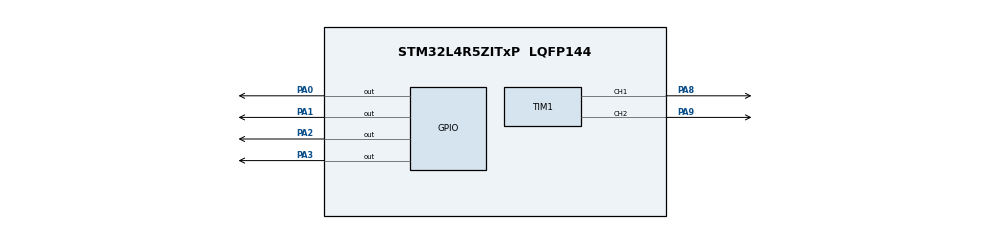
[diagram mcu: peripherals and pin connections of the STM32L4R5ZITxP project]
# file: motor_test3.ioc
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Mcu.Family=STM32L4
Mcu.Name=STM32L4R5ZITxP
Mcu.Package=LQFP144
NVIC.PriorityGroup=NVIC_PRIORITYGROUP_4
PA0.Signal=GPIO_Output
PA1.Signal=GPIO_Output
PA10.Signal=USB_OTG_FS_ID
PA13\ (JTMS/SWDIO).Signal=SYS_JTMS-SWDIO
PA14\ (JTCK/SWCLK).Signal=SYS_JTCK-SWCLK
PA2.Signal=GPIO_Output
PA3.Signal=GPIO_Output
PA4.Signal=SPI1_NSS
PA5.Signal=SPI1_SCK
PA6.Signal=SPI1_MISO
PA7.Signal=SPI1_MOSI
PA8.Signal=S_TIM1_CH1
PA9.Signal=S_TIM1_CH2
PB0.Signal=S_TIM3_CH3
PB1.Signal=ADCx_IN16
PB10.Signal=S_TIM2_CH3
PB12.Signal=SAI2_FS_A
PB13.Signal=SAI2_SCK_A
PB14.Signal=S_TIM15_CH1
PB15.Signal=SAI2_SD_A
PB2.Signal=COMP1_INP
PB3\ (JTDO/TRACESWO).Signal=SPI3_SCK
PB4\ (NJTRST).Signal=SPI3_MISO
PB5.Signal=SPI3_MOSI
PB6.Signal=COMP2_INP
PB8.Signal=I2C1_SCL
PB9.Signal=I2C1_SDA
PC0.Signal=ADCx_IN1
PC1.Signal=ADCx_IN2
PC10.Signal=SDMMC1_D2
PC11.Signal=SDMMC1_D3
PC12.Signal=SDMMC1_CK
PC13.Signal=SYS_WKUP2
PC14-OSC32_IN\ (PC14).Signal=RCC_OSC32_IN
PC15-OSC32_OUT\ (PC15).Signal=RCC_OSC32_OUT
PC2.Signal=ADCx_IN3
PC3.Signal=ADCx_IN4
PC4.Signal=ADCx_IN13
PC5.Signal=ADCx_IN14
PC6.Signal=SAI2_MCLK_A
PC7.Signal=S_TIM3_CH2
PC8.Signal=SDMMC1_D0
PC9.Signal=SDMMC1_D1
PD0.Signal=CAN1_RX
PD14.Signal=S_TIM4_CH3
PD15.Signal=S_TIM4_CH4
PD2.Signal=SDMMC1_CMD
PD3.Signal=USART2_CTS
PD4.Signal=USART2_RTS
PD5.Signal=USART2_TX
PD6.Signal=USART2_RX
PD8.Signal=USART3_TX
PD9.Signal=USART3_RX
PE0.Signal=S_TIM4_ETR
PE10.Signal=TIM1_CH2N
PE12.Signal=TIM1_CH3N
PE13.Signal=S_TIM1_CH3
PE14.Signal=TIM1_BKIN2
PE15.Signal=TIM1_BKIN
PE2.Signal=SAI1_MCLK_A
PE3.Signal=SAI1_SD_B
PE7.Signal=S_TIM1_ETR
PE8.Signal=TIM1_CH1N
PF0.Signal=I2C2_SDA
PF1.Signal=I2C2_SCL
PF2.Signal=I2C2_SMBA
PF7.Signal=SAI1_MCLK_B
PG7.Signal=LPUART1_TX
PG8.Signal=LPUART1_RX
PH0-OSC_IN\ (PH0).Signal=RCC_OSC_IN
PH1-OSC_OUT\ (PH1).Signal=RCC_OSC_OUT
ProjectManager.HeapSize=0x200
ProjectManager.StackSize=0x400
ProjectManager.TargetToolchain=STM32CubeIDE
RCC.HSE_VALUE=8000000
RCC.HSI48_VALUE=48000000
RCC.HSI_VALUE=16000000
RCC.LSE_VALUE=32768
RCC.MSI_VALUE=4000000
RCC.VCOOutputFreq_Value=32000000
SH.ADCx_IN1.0=ADC1_IN1
SH.ADCx_IN13.0=ADC1_IN13
SH.ADCx_IN14.0=ADC1_IN14
SH.ADCx_IN16.0=ADC1_IN16
SH.ADCx_IN2.0=ADC1_IN2
SH.ADCx_IN3.0=ADC1_IN3
SH.ADCx_IN4.0=ADC1_IN4
SH.S_TIM15_CH1.0=TIM15_CH1
SH.S_TIM1_CH1.0=TIM1_CH1,PWM Generation1 CH1
SH.S_TIM1_CH2.0=TIM1_CH2,PWM Generation2 CH2
SH.S_TIM1_CH3.0=TIM1_CH3
SH.S_TIM1_ETR.0=TIM1_ETR
SH.S_TIM2_CH3.0=TIM2_CH3
SH.S_TIM3_CH2.0=TIM3_CH2
SH.S_TIM3_CH3.0=TIM3_CH3
SH.S_TIM4_CH3.0=TIM4_CH3
SH.S_TIM4_CH4.0=TIM4_CH4
SH.S_TIM4_ETR.0=TIM4_ETR
TIM1.Channel-PWM\ Generation1\ CH1=TIM_CHANNEL_1
TIM1.Channel-PWM\ Generation2\ CH2=TIM_CHANNEL_2
VP_TIM1_VS_ClockSourceINT.Mode=Internal
board=NUCLEO-L4R5ZI-P

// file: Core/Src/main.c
/* USER CODE BEGIN Header */
/**
  ******************************************************************************
  * @file           : main.c
  * @brief          : Main program body
  ******************************************************************************
  * @attention
  *
  * Copyright (c) 2025 STMicroelectronics.
  * All rights reserved.
  *
  * This software is licensed under terms that can be found in the LICENSE file
  * in the root directory of this software component.
  * If no LICENSE file comes with this software, it is provided AS-IS.
  *
  ******************************************************************************
  */
/* USER CODE END Header */
#include "main.h"

TIM_HandleTypeDef htim1;

/* USER CODE BEGIN PV */
#define IN1_GPIO_Port GPIOA
#define IN1_Pin       GPIO_PIN_0

#define IN2_GPIO_Port GPIOA
#define IN2_Pin       GPIO_PIN_1

#define IN3_GPIO_Port GPIOA
#define IN3_Pin       GPIO_PIN_2

#define IN4_GPIO_Port GPIOA
#define IN4_Pin       GPIO_PIN_3
/* USER CODE END PV */

void SystemClock_Config(void);
static void MX_GPIO_Init(void);
static void MX_TIM1_Init(void);

int main(void)
{

  /* MCU Configuration--------------------------------------------------------*/

  /* Reset of all peripherals, Initializes the Flash interface and the Systick. */
  HAL_Init();

  /* Configure the system clock */
  SystemClock_Config();

  /* Initialize all configured peripherals */
  MX_GPIO_Init();
  MX_TIM1_Init();

  /* Infinite loop */
  while (1)
  {

    /* USER CODE BEGIN 3 */
	  /* -------- Motor A Clockwise -------- */
	  HAL_GPIO_WritePin(IN1_GPIO_Port, IN1_Pin, GPIO_PIN_SET);
	  HAL_GPIO_WritePin(IN2_GPIO_Port, IN2_Pin, GPIO_PIN_RESET);
	  HAL_Delay(2000);

	  /* Brake Motor A */
	  HAL_GPIO_WritePin(IN1_GPIO_Port, IN1_Pin, GPIO_PIN_SET);
	  HAL_GPIO_WritePin(IN2_GPIO_Port, IN2_Pin, GPIO_PIN_SET);
	  HAL_Delay(500);

	  /* -------- Motor B Clockwise -------- */
	  HAL_GPIO_WritePin(IN3_GPIO_Port, IN3_Pin, GPIO_PIN_SET);
	  HAL_GPIO_WritePin(IN4_GPIO_Port, IN4_Pin, GPIO_PIN_RESET);
	  HAL_Delay(2000);

	  /* Brake Motor B */
	  HAL_GPIO_WritePin(IN3_GPIO_Port, IN3_Pin, GPIO_PIN_SET);
	  HAL_GPIO_WritePin(IN4_GPIO_Port, IN4_Pin, GPIO_PIN_SET);
	  HAL_Delay(500);

	  /* -------- Motor A Counter-Clockwise -------- */
	  HAL_GPIO_WritePin(IN1_GPIO_Port, IN1_Pin, GPIO_PIN_RESET);
	  HAL_GPIO_WritePin(IN2_GPIO_Port, IN2_Pin, GPIO_PIN_SET);
	  HAL_Delay(2000);

	  /* Brake Motor A */
	  HAL_GPIO_WritePin(IN1_GPIO_Port, IN1_Pin, GPIO_PIN_SET);
	  HAL_GPIO_WritePin(IN2_GPIO_Port, IN2_Pin, GPIO_PIN_SET);
	  HAL_Delay(500);

	  /* -------- Motor B Counter-Clockwise -------- */
	  HAL_GPIO_WritePin(IN3_GPIO_Port, IN3_Pin, GPIO_PIN_RESET);
	  HAL_GPIO_WritePin(IN4_GPIO_Port, IN4_Pin, GPIO_PIN_SET);
	  HAL_Delay(2000);

	  /* Brake Motor B */
	  HAL_GPIO_WritePin(IN3_GPIO_Port, IN3_Pin, GPIO_PIN_SET);
	  HAL_GPIO_WritePin(IN4_GPIO_Port, IN4_Pin, GPIO_PIN_SET);
	  HAL_Delay(500);
  }
  /* USER CODE END 3 */
}

void SystemClock_Config(void)
{
  RCC_OscInitTypeDef RCC_OscInitStruct = {0};
  RCC_ClkInitTypeDef RCC_ClkInitStruct = {0};

  /** Configure the main internal regulator output voltage
  */
  if (HAL_PWREx_ControlVoltageScaling(PWR_REGULATOR_VOLTAGE_SCALE1) != HAL_OK)
  {
    Error_Handler();
  }

  /** Initializes the RCC Oscillators according to the specified parameters
  * in the RCC_OscInitTypeDef structure.
  */
  RCC_OscInitStruct.OscillatorType = RCC_OSCILLATORTYPE_MSI;
  RCC_OscInitStruct.MSIState = RCC_MSI_ON;
  RCC_OscInitStruct.MSICalibrationValue = 0;
  RCC_OscInitStruct.MSIClockRange = RCC_MSIRANGE_6;
  RCC_OscInitStruct.PLL.PLLState = RCC_PLL_NONE;
  if (HAL_RCC_OscConfig(&RCC_OscInitStruct) != HAL_OK)
  {
    Error_Handler();
  }

  /** Initializes the CPU, AHB and APB buses clocks
  */
  RCC_ClkInitStruct.ClockType = RCC_CLOCKTYPE_HCLK|RCC_CLOCKTYPE_SYSCLK
                              |RCC_CLOCKTYPE_PCLK1|RCC_CLOCKTYPE_PCLK2;
  RCC_ClkInitStruct.SYSCLKSource = RCC_SYSCLKSOURCE_MSI;
  RCC_ClkInitStruct.AHBCLKDivider = RCC_SYSCLK_DIV1;
  RCC_ClkInitStruct.APB1CLKDivider = RCC_HCLK_DIV1;
  RCC_ClkInitStruct.APB2CLKDivider = RCC_HCLK_DIV1;

  if (HAL_RCC_ClockConfig(&RCC_ClkInitStruct, FLASH_LATENCY_0) != HAL_OK)
  {
    Error_Handler();
  }
}

static void MX_TIM1_Init(void)
{

  TIM_ClockConfigTypeDef sClockSourceConfig = {0};
  TIM_MasterConfigTypeDef sMasterConfig = {0};
  TIM_OC_InitTypeDef sConfigOC = {0};
  TIM_BreakDeadTimeConfigTypeDef sBreakDeadTimeConfig = {0};

  htim1.Instance = TIM1;
  htim1.Init.Prescaler = 0;
  htim1.Init.CounterMode = TIM_COUNTERMODE_UP;
  htim1.Init.Period = 65535;
  htim1.Init.ClockDivision = TIM_CLOCKDIVISION_DIV1;
  htim1.Init.RepetitionCounter = 0;
  htim1.Init.AutoReloadPreload = TIM_AUTORELOAD_PRELOAD_DISABLE;
  if (HAL_TIM_Base_Init(&htim1) != HAL_OK)
  {
    Error_Handler();
  }
  sClockSourceConfig.ClockSource = TIM_CLOCKSOURCE_INTERNAL;
  if (HAL_TIM_ConfigClockSource(&htim1, &sClockSourceConfig) != HAL_OK)
  {
    Error_Handler();
  }
  if (HAL_TIM_PWM_Init(&htim1) != HAL_OK)
  {
    Error_Handler();
  }
  sMasterConfig.MasterOutputTrigger = TIM_TRGO_RESET;
  sMasterConfig.MasterOutputTrigger2 = TIM_TRGO2_RESET;
  sMasterConfig.MasterSlaveMode = TIM_MASTERSLAVEMODE_DISABLE;
  if (HAL_TIMEx_MasterConfigSynchronization(&htim1, &sMasterConfig) != HAL_OK)
  {
    Error_Handler();
  }
  sConfigOC.OCMode = TIM_OCMODE_PWM1;
  sConfigOC.Pulse = 0;
  sConfigOC.OCPolarity = TIM_OCPOLARITY_HIGH;
  sConfigOC.OCNPolarity = TIM_OCNPOLARITY_HIGH;
  sConfigOC.OCFastMode = TIM_OCFAST_DISABLE;
  sConfigOC.OCIdleState = TIM_OCIDLESTATE_RESET;
  sConfigOC.OCNIdleState = TIM_OCNIDLESTATE_RESET;
  if (HAL_TIM_PWM_ConfigChannel(&htim1, &sConfigOC, TIM_CHANNEL_1) != HAL_OK)
  {
    Error_Handler();
  }
  if (HAL_TIM_PWM_ConfigChannel(&htim1, &sConfigOC, TIM_CHANNEL_2) != HAL_OK)
  {
    Error_Handler();
  }
  sBreakDeadTimeConfig.OffStateRunMode = TIM_OSSR_DISABLE;
  sBreakDeadTimeConfig.OffStateIDLEMode = TIM_OSSI_DISABLE;
  sBreakDeadTimeConfig.LockLevel = TIM_LOCKLEVEL_OFF;
  sBreakDeadTimeConfig.DeadTime = 0;
  sBreakDeadTimeConfig.BreakState = TIM_BREAK_DISABLE;
  sBreakDeadTimeConfig.BreakPolarity = TIM_BREAKPOLARITY_HIGH;
  sBreakDeadTimeConfig.BreakFilter = 0;
  sBreakDeadTimeConfig.Break2State = TIM_BREAK2_DISABLE;
  sBreakDeadTimeConfig.Break2Polarity = TIM_BREAK2POLARITY_HIGH;
  sBreakDeadTimeConfig.Break2Filter = 0;
  sBreakDeadTimeConfig.AutomaticOutput = TIM_AUTOMATICOUTPUT_DISABLE;
  if (HAL_TIMEx_ConfigBreakDeadTime(&htim1, &sBreakDeadTimeConfig) != HAL_OK)
  {
    Error_Handler();
  }
  HAL_TIM_MspPostInit(&htim1);

}

static void MX_GPIO_Init(void)
{
  GPIO_InitTypeDef GPIO_InitStruct = {0};

  /* GPIO Ports Clock Enable */
  __HAL_RCC_GPIOE_CLK_ENABLE();
  __HAL_RCC_GPIOC_CLK_ENABLE();
  __HAL_RCC_GPIOF_CLK_ENABLE();
  __HAL_RCC_GPIOH_CLK_ENABLE();
  __HAL_RCC_GPIOA_CLK_ENABLE();
  __HAL_RCC_GPIOB_CLK_ENABLE();
  __HAL_RCC_GPIOD_CLK_ENABLE();
  __HAL_RCC_GPIOG_CLK_ENABLE();
  HAL_PWREx_EnableVddIO2();

  /*Configure GPIO pin Output Level */
  HAL_GPIO_WritePin(GPIOA, GPIO_PIN_0|GPIO_PIN_1|GPIO_PIN_2|GPIO_PIN_3, GPIO_PIN_RESET);

  /*Configure GPIO pins : PE2 PE3 */
  GPIO_InitStruct.Pin = GPIO_PIN_2|GPIO_PIN_3;
  GPIO_InitStruct.Mode = GPIO_MODE_AF_PP;
  GPIO_InitStruct.Pull = GPIO_NOPULL;
  GPIO_InitStruct.Speed = GPIO_SPEED_FREQ_LOW;
  GPIO_InitStruct.Alternate = GPIO_AF13_SAI1;
  HAL_GPIO_Init(GPIOE, &GPIO_InitStruct);

  /*Configure GPIO pins : PF0 PF1 PF2 */
  GPIO_InitStruct.Pin = GPIO_PIN_0|GPIO_PIN_1|GPIO_PIN_2;
  GPIO_InitStruct.Mode = GPIO_MODE_AF_OD;
  GPIO_InitStruct.Pull = GPIO_NOPULL;
  GPIO_InitStruct.Speed = GPIO_SPEED_FREQ_VERY_HIGH;
  GPIO_InitStruct.Alternate = GPIO_AF4_I2C2;
  HAL_GPIO_Init(GPIOF, &GPIO_InitStruct);

  /*Configure GPIO pin : PF7 */
  GPIO_InitStruct.Pin = GPIO_PIN_7;
  GPIO_InitStruct.Mode = GPIO_MODE_AF_PP;
  GPIO_InitStruct.Pull = GPIO_NOPULL;
  GPIO_InitStruct.Speed = GPIO_SPEED_FREQ_LOW;
  GPIO_InitStruct.Alternate = GPIO_AF13_SAI1;
  HAL_GPIO_Init(GPIOF, &GPIO_InitStruct);

  /*Configure GPIO pins : PC0 PC1 PC2 PC3
                           PC4 PC5 */
  GPIO_InitStruct.Pin = GPIO_PIN_0|GPIO_PIN_1|GPIO_PIN_2|GPIO_PIN_3
                          |GPIO_PIN_4|GPIO_PIN_5;
  GPIO_InitStruct.Mode = GPIO_MODE_ANALOG_ADC_CONTROL;
  GPIO_InitStruct.Pull = GPIO_NOPULL;
  HAL_GPIO_Init(GPIOC, &GPIO_InitStruct);

  /*Configure GPIO pins : PA0 PA1 PA2 PA3 */
  GPIO_InitStruct.Pin = GPIO_PIN_0|GPIO_PIN_1|GPIO_PIN_2|GPIO_PIN_3;
  GPIO_InitStruct.Mode = GPIO_MODE_OUTPUT_PP;
  GPIO_InitStruct.Pull = GPIO_NOPULL;
  GPIO_InitStruct.Speed = GPIO_SPEED_FREQ_LOW;
  HAL_GPIO_Init(GPIOA, &GPIO_InitStruct);

  /*Configure GPIO pins : PA4 PA5 PA6 PA7 */
  GPIO_InitStruct.Pin = GPIO_PIN_4|GPIO_PIN_5|GPIO_PIN_6|GPIO_PIN_7;
  GPIO_InitStruct.Mode = GPIO_MODE_AF_PP;
  GPIO_InitStruct.Pull = GPIO_NOPULL;
  GPIO_InitStruct.Speed = GPIO_SPEED_FREQ_VERY_HIGH;
  GPIO_InitStruct.Alternate = GPIO_AF5_SPI1;
  HAL_GPIO_Init(GPIOA, &GPIO_InitStruct);

  /*Configure GPIO pin : PB0 */
  GPIO_InitStruct.Pin = GPIO_PIN_0;
  GPIO_InitStruct.Mode = GPIO_MODE_AF_PP;
  GPIO_InitStruct.Pull = GPIO_NOPULL;
  GPIO_InitStruct.Speed = GPIO_SPEED_FREQ_LOW;
  GPIO_InitStruct.Alternate = GPIO_AF2_TIM3;
  HAL_GPIO_Init(GPIOB, &GPIO_InitStruct);

  /*Configure GPIO pin : PB1 */
  GPIO_InitStruct.Pin = GPIO_PIN_1;
  GPIO_InitStruct.Mode = GPIO_MODE_ANALOG_ADC_CONTROL;
  GPIO_InitStruct.Pull = GPIO_NOPULL;
  HAL_GPIO_Init(GPIOB, &GPIO_InitStruct);

  /*Configure GPIO pins : PB2 PB6 */
  GPIO_InitStruct.Pin = GPIO_PIN_2|GPIO_PIN_6;
  GPIO_InitStruct.Mode = GPIO_MODE_ANALOG;
  GPIO_InitStruct.Pull = GPIO_NOPULL;
  HAL_GPIO_Init(GPIOB, &GPIO_InitStruct);

  /*Configure GPIO pin : PB10 */
  GPIO_InitStruct.Pin = GPIO_PIN_10;
  GPIO_InitStruct.Mode = GPIO_MODE_AF_PP;
  GPIO_InitStruct.Pull = GPIO_NOPULL;
  GPIO_InitStruct.Speed = GPIO_SPEED_FREQ_LOW;
  GPIO_InitStruct.Alternate = GPIO_AF1_TIM2;
  HAL_GPIO_Init(GPIOB, &GPIO_InitStruct);

  /*Configure GPIO pins : PB12 PB13 PB15 */
  GPIO_InitStruct.Pin = GPIO_PIN_12|GPIO_PIN_13|GPIO_PIN_15;
  GPIO_InitStruct.Mode = GPIO_MODE_AF_PP;
  GPIO_InitStruct.Pull = GPIO_NOPULL;
  GPIO_InitStruct.Speed = GPIO_SPEED_FREQ_LOW;
  GPIO_InitStruct.Alternate = GPIO_AF13_SAI2;
  HAL_GPIO_Init(GPIOB, &GPIO_InitStruct);

  /*Configure GPIO pin : PB14 */
  GPIO_InitStruct.Pin = GPIO_PIN_14;
  GPIO_InitStruct.Mode = GPIO_MODE_AF_PP;
  GPIO_InitStruct.Pull = GPIO_NOPULL;
  GPIO_InitStruct.Speed = GPIO_SPEED_FREQ_LOW;
  GPIO_InitStruct.Alternate = GPIO_AF14_TIM15;
  HAL_GPIO_Init(GPIOB, &GPIO_InitStruct);

  /*Configure GPIO pins : PD8 PD9 */
  GPIO_InitStruct.Pin = GPIO_PIN_8|GPIO_PIN_9;
  GPIO_InitStruct.Mode = GPIO_MODE_AF_PP;
  GPIO_InitStruct.Pull = GPIO_NOPULL;
  GPIO_InitStruct.Speed = GPIO_SPEED_FREQ_VERY_HIGH;
  GPIO_InitStruct.Alternate = GPIO_AF7_USART3;
  HAL_GPIO_Init(GPIOD, &GPIO_InitStruct);

  /*Configure GPIO pins : PD14 PD15 */
  GPIO_InitStruct.Pin = GPIO_PIN_14|GPIO_PIN_15;
  GPIO_InitStruct.Mode = GPIO_MODE_AF_PP;
  GPIO_InitStruct.Pull = GPIO_NOPULL;
  GPIO_InitStruct.Speed = GPIO_SPEED_FREQ_LOW;
  GPIO_InitStruct.Alternate = GPIO_AF2_TIM4;
  HAL_GPIO_Init(GPIOD, &GPIO_InitStruct);

  /*Configure GPIO pins : PG7 PG8 */
  GPIO_InitStruct.Pin = GPIO_PIN_7|GPIO_PIN_8;
  GPIO_InitStruct.Mode = GPIO_MODE_AF_PP;
  GPIO_InitStruct.Pull = GPIO_NOPULL;
  GPIO_InitStruct.Speed = GPIO_SPEED_FREQ_VERY_HIGH;
  GPIO_InitStruct.Alternate = GPIO_AF8_LPUART1;
  HAL_GPIO_Init(GPIOG, &GPIO_InitStruct);

  /*Configure GPIO pin : PC6 */
  GPIO_InitStruct.Pin = GPIO_PIN_6;
  GPIO_InitStruct.Mode = GPIO_MODE_AF_PP;
  GPIO_InitStruct.Pull = GPIO_NOPULL;
  GPIO_InitStruct.Speed = GPIO_SPEED_FREQ_LOW;
  GPIO_InitStruct.Alternate = GPIO_AF13_SAI2;
  HAL_GPIO_Init(GPIOC, &GPIO_InitStruct);

  /*Configure GPIO pin : PC7 */
  GPIO_InitStruct.Pin = GPIO_PIN_7;
  GPIO_InitStruct.Mode = GPIO_MODE_AF_PP;
  GPIO_InitStruct.Pull = GPIO_NOPULL;
  GPIO_InitStruct.Speed = GPIO_SPEED_FREQ_LOW;
  GPIO_InitStruct.Alternate = GPIO_AF2_TIM3;
  HAL_GPIO_Init(GPIOC, &GPIO_InitStruct);

  /*Configure GPIO pins : PC8 PC9 PC10 PC11
                           PC12 */
  GPIO_InitStruct.Pin = GPIO_PIN_8|GPIO_PIN_9|GPIO_PIN_10|GPIO_PIN_11
                          |GPIO_PIN_12;
  GPIO_InitStruct.Mode = GPIO_MODE_AF_PP;
  GPIO_InitStruct.Pull = GPIO_NOPULL;
  GPIO_InitStruct.Speed = GPIO_SPEED_FREQ_VERY_HIGH;
  GPIO_InitStruct.Alternate = GPIO_AF12_SDMMC1;
  HAL_GPIO_Init(GPIOC, &GPIO_InitStruct);

  /*Configure GPIO pin : PA10 */
  GPIO_InitStruct.Pin = GPIO_PIN_10;
  GPIO_InitStruct.Mode = GPIO_MODE_AF_PP;
  GPIO_InitStruct.Pull = GPIO_NOPULL;
  GPIO_InitStruct.Speed = GPIO_SPEED_FREQ_VERY_HIGH;
  GPIO_InitStruct.Alternate = GPIO_AF10_OTG_FS;
  HAL_GPIO_Init(GPIOA, &GPIO_InitStruct);

  /*Configure GPIO pin : PD0 */
  GPIO_InitStruct.Pin = GPIO_PIN_0;
  GPIO_InitStruct.Mode = GPIO_MODE_AF_PP;
  GPIO_InitStruct.Pull = GPIO_NOPULL;
  GPIO_InitStruct.Speed = GPIO_SPEED_FREQ_VERY_HIGH;
  GPIO_InitStruct.Alternate = GPIO_AF9_CAN1;
  HAL_GPIO_Init(GPIOD, &GPIO_InitStruct);

  /*Configure GPIO pin : PD2 */
  GPIO_InitStruct.Pin = GPIO_PIN_2;
  GPIO_InitStruct.Mode = GPIO_MODE_AF_PP;
  GPIO_InitStruct.Pull = GPIO_NOPULL;
  GPIO_InitStruct.Speed = GPIO_SPEED_FREQ_VERY_HIGH;
  GPIO_InitStruct.Alternate = GPIO_AF12_SDMMC1;
  HAL_GPIO_Init(GPIOD, &GPIO_InitStruct);

  /*Configure GPIO pins : PD3 PD4 PD5 PD6 */
  GPIO_InitStruct.Pin = GPIO_PIN_3|GPIO_PIN_4|GPIO_PIN_5|GPIO_PIN_6;
  GPIO_InitStruct.Mode = GPIO_MODE_AF_PP;
  GPIO_InitStruct.Pull = GPIO_NOPULL;
  GPIO_InitStruct.Speed = GPIO_SPEED_FREQ_VERY_HIGH;
  GPIO_InitStruct.Alternate = GPIO_AF7_USART2;
  HAL_GPIO_Init(GPIOD, &GPIO_InitStruct);

  /*Configure GPIO pins : PB3 PB4 PB5 */
  GPIO_InitStruct.Pin = GPIO_PIN_3|GPIO_PIN_4|GPIO_PIN_5;
  GPIO_InitStruct.Mode = GPIO_MODE_AF_PP;
  GPIO_InitStruct.Pull = GPIO_NOPULL;
  GPIO_InitStruct.Speed = GPIO_SPEED_FREQ_VERY_HIGH;
  GPIO_InitStruct.Alternate = GPIO_AF6_SPI3;
  HAL_GPIO_Init(GPIOB, &GPIO_InitStruct);

  /*Configure GPIO pins : PB8 PB9 */
  GPIO_InitStruct.Pin = GPIO_PIN_8|GPIO_PIN_9;
  GPIO_InitStruct.Mode = GPIO_MODE_AF_OD;
  GPIO_InitStruct.Pull = GPIO_NOPULL;
  GPIO_InitStruct.Speed = GPIO_SPEED_FREQ_VERY_HIGH;
  GPIO_InitStruct.Alternate = GPIO_AF4_I2C1;
  HAL_GPIO_Init(GPIOB, &GPIO_InitStruct);

  /*Configure GPIO pin : PE0 */
  GPIO_InitStruct.Pin = GPIO_PIN_0;
  GPIO_InitStruct.Mode = GPIO_MODE_AF_PP;
  GPIO_InitStruct.Pull = GPIO_NOPULL;
  GPIO_InitStruct.Speed = GPIO_SPEED_FREQ_LOW;
  GPIO_InitStruct.Alternate = GPIO_AF2_TIM4;
  HAL_GPIO_Init(GPIOE, &GPIO_InitStruct);

}

void Error_Handler(void)
{
  __disable_irq();
  while (1)
  {
  }
}
